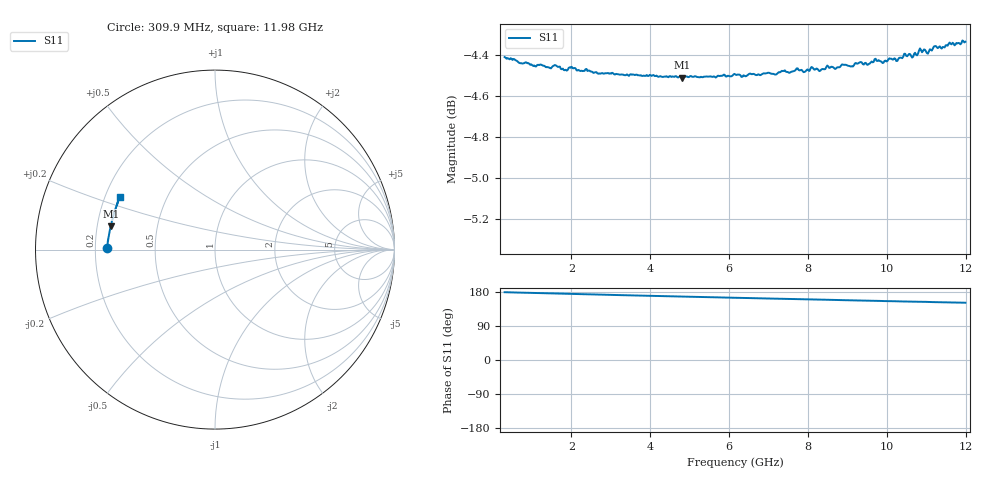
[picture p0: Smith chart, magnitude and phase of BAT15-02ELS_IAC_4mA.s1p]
! Infineon Technologies  Discrete & RF Semiconductors
! BAT15-02ELS
! IAC = 4 mA
! One-Port S-Parameters
# Hz  S  MA  R  50
!f  S11
!Hz  Mag  Ang
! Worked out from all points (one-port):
!   468 points, 309.9 MHz to 11.98 GHz, reference 50 ohm
!   lowest |S11| = -4.5 dB at 4.808 GHz (marker M1), VSWR 3.94, Z = 12.8 + j5.16 ohm
!   |S11| at or under -10 dB: nowhere
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3.0985e8  0.6018 178.9
1.059475e9  0.599 176.9
1.584212e9  0.5992 175.6
1.784112e9  0.5979 175.0
1.984012e9  0.5982 174.6
3.233388e9  0.5959 171.2
4.70765e9  0.595 167.6
4.8076e9  0.595 167.4
6.156925e9  0.596 164.3
7.456275e9  0.5968 161.3
7.6062e9  0.597 160.8
7.831088e9  0.5975 160.4
8.030988e9  0.5972 159.9
8.2059e9  0.598 159.6
8.4058e9  0.5977 159.0
8.580712e9  0.5986 158.7
8.780612e9  0.5984 158.2
8.90555e9  0.5992 158.0
9.080462e9  0.5987 157.5
9.730138e9  0.6006 156.1
9.980012e9  0.6004 155.4
1.052974e10  0.6025 154.3
1.077961e10  0.603 153.6
1.097951e10  0.6038 153.4
1.112944e10  0.604 152.9
1.127936e10  0.6048 152.7
1.147926e10  0.6058 152.2
1.197901e10  0.607 151.1
